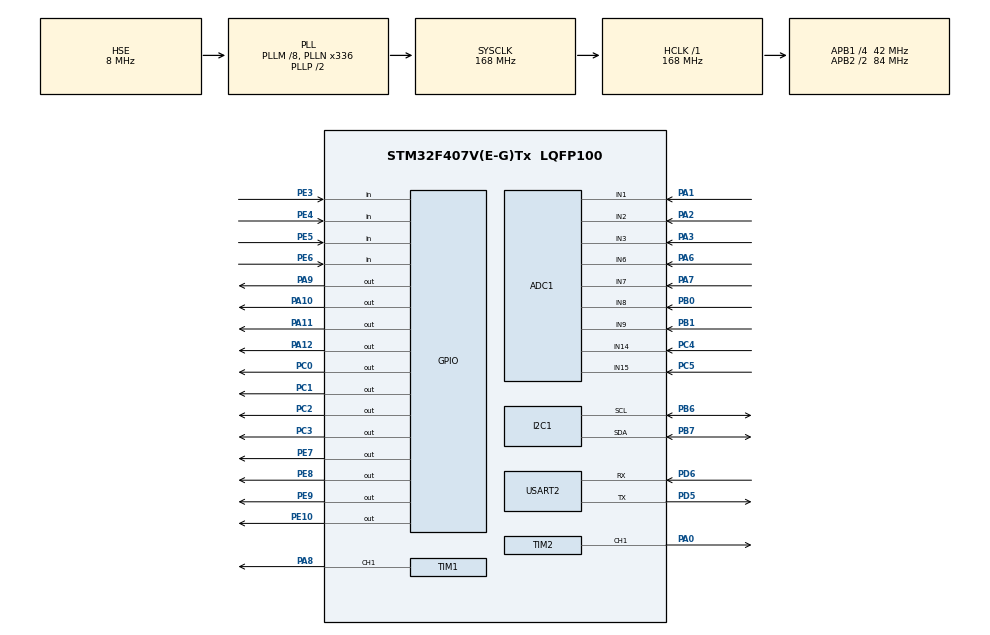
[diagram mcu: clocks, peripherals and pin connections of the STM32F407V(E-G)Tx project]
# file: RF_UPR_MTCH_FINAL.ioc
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ADC1.Channel-10\#ChannelRegularConversion=ADC_CHANNEL_2
ADC1.Channel-7\#ChannelRegularConversion=ADC_CHANNEL_1
ADC1.Channel-8\#ChannelInjectedConversion=ADC_CHANNEL_2
ADC1.Channel-9\#ChannelInjectedConversion=ADC_CHANNEL_2
ADC1.ContinuousConvMode=ENABLE
ADC1.DMAContinuousRequests=ENABLE
ADC1.EOCSelection=ADC_EOC_SEQ_CONV
ADC1.EnableAnalogWatchDog=false
ADC1.InjNumberOfConversion=2
ADC1.InjectedOffset-8\#ChannelInjectedConversion=0
ADC1.InjectedOffset-9\#ChannelInjectedConversion=0
ADC1.InjectedRank-8\#ChannelInjectedConversion=1
ADC1.InjectedRank-9\#ChannelInjectedConversion=2
ADC1.NbrOfConversion=2
ADC1.NbrOfConversionFlag=1
ADC1.Rank-10\#ChannelRegularConversion=2
ADC1.Rank-7\#ChannelRegularConversion=1
ADC1.SamplingTime-10\#ChannelRegularConversion=ADC_SAMPLETIME_480CYCLES
ADC1.SamplingTime-7\#ChannelRegularConversion=ADC_SAMPLETIME_480CYCLES
ADC1.SamplingTime-8\#ChannelInjectedConversion=ADC_SAMPLETIME_3CYCLES
ADC1.SamplingTime-9\#ChannelInjectedConversion=ADC_SAMPLETIME_3CYCLES
ADC1.master=1
Dma.ADC1.0.Direction=DMA_PERIPH_TO_MEMORY
Dma.ADC1.0.FIFOMode=DMA_FIFOMODE_DISABLE
Dma.ADC1.0.Instance=DMA2_Stream0
Dma.ADC1.0.MemDataAlignment=DMA_MDATAALIGN_HALFWORD
Dma.ADC1.0.MemInc=DMA_MINC_ENABLE
Dma.ADC1.0.Mode=DMA_CIRCULAR
Dma.ADC1.0.PeriphDataAlignment=DMA_PDATAALIGN_HALFWORD
Dma.ADC1.0.PeriphInc=DMA_PINC_DISABLE
Dma.ADC1.0.Priority=DMA_PRIORITY_LOW
Dma.Request0=ADC1
I2C1.I2C_Mode=I2C_Standard
Mcu.Family=STM32F4
Mcu.Name=STM32F407V(E-G)Tx
Mcu.Package=LQFP100
NVIC.ADC_IRQn=true\:0\:0\:false\:false\:true\:true\:true\:true
NVIC.DMA2_Stream0_IRQn=true\:0\:0\:false\:false\:true\:false\:true\:true
NVIC.PriorityGroup=NVIC_PRIORITYGROUP_0
NVIC.TIM1_UP_TIM10_IRQn=true\:0\:0\:false\:false\:true\:true\:true\:true
NVIC.TIM2_IRQn=true\:0\:0\:false\:false\:true\:true\:true\:true
NVIC.TIM6_DAC_IRQn=true\:0\:0\:false\:false\:true\:true\:true\:true
NVIC.USART2_IRQn=true\:0\:0\:false\:false\:true\:true\:true\:true
PA0-WKUP.Signal=S_TIM2_CH1_ETR
PA1.Signal=ADCx_IN1
PA10.Signal=GPIO_Output
PA11.Signal=GPIO_Output
PA12.Signal=GPIO_Output
PA13.Mode=Serial_Wire
PA13.Signal=SYS_JTMS-SWDIO
PA14.Mode=Serial_Wire
PA14.Signal=SYS_JTCK-SWCLK
PA2.Signal=ADCx_IN2
PA3.Signal=ADCx_IN3
PA6.Signal=ADCx_IN6
PA7.Signal=ADCx_IN7
PA8.Signal=S_TIM1_CH1
PA9.Signal=GPIO_Output
PB0.Signal=ADCx_IN8
PB1.Signal=ADCx_IN9
PB6.Mode=I2C
PB6.Signal=I2C1_SCL
PB7.Mode=I2C
PB7.Signal=I2C1_SDA
PC0.Signal=GPIO_Output
PC1.Signal=GPIO_Output
PC2.Signal=GPIO_Output
PC3.Signal=GPIO_Output
PC4.Signal=ADCx_IN14
PC5.Signal=ADCx_IN15
PD5.Mode=Asynchronous
PD5.Signal=USART2_TX
PD6.Mode=Asynchronous
PD6.Signal=USART2_RX
PE10.Signal=GPIO_Output
PE3.Signal=GPIO_Input
PE4.Signal=GPIO_Input
PE5.Signal=GPIO_Input
PE6.Signal=GPIO_Input
PE7.Signal=GPIO_Output
PE8.Signal=GPIO_Output
PE9.Signal=GPIO_Output
PH0-OSC_IN.Mode=HSE-External-Oscillator
PH0-OSC_IN.Signal=RCC_OSC_IN
PH1-OSC_OUT.Mode=HSE-External-Oscillator
PH1-OSC_OUT.Signal=RCC_OSC_OUT
ProjectManager.HeapSize=0x200
ProjectManager.StackSize=0x400
ProjectManager.TargetToolchain=STM32CubeIDE
RCC.48MHZClocksFreq_Value=48000000
RCC.AHBFreq_Value=168000000
RCC.APB1CLKDivider=RCC_HCLK_DIV4
RCC.APB1Freq_Value=42000000
RCC.APB1TimFreq_Value=84000000
RCC.APB2CLKDivider=RCC_HCLK_DIV2
RCC.APB2Freq_Value=84000000
RCC.APB2TimFreq_Value=168000000
RCC.CortexFreq_Value=168000000
RCC.HCLKFreq_Value=168000000
RCC.HSE_VALUE=8000000
RCC.HSI_VALUE=16000000
RCC.LSE_VALUE=32768
RCC.PLLM=8
RCC.PLLN=336
RCC.PLLQ=7
RCC.PLLSourceVirtual=RCC_PLLSOURCE_HSE
RCC.SYSCLKFreq_VALUE=168000000
RCC.SYSCLKSource=RCC_SYSCLKSOURCE_PLLCLK
RCC.VCOOutputFreq_Value=336000000
SH.ADCx_IN1.0=ADC1_IN1,IN1
SH.ADCx_IN14.0=ADC1_IN14,IN14
SH.ADCx_IN15.0=ADC1_IN15,IN15
SH.ADCx_IN2.0=ADC1_IN2,IN2
SH.ADCx_IN3.0=ADC1_IN3,IN3
SH.ADCx_IN6.0=ADC1_IN6,IN6
SH.ADCx_IN7.0=ADC1_IN7,IN7
SH.ADCx_IN8.0=ADC1_IN8,IN8
SH.ADCx_IN9.0=ADC1_IN9,IN9
SH.S_TIM1_CH1.0=TIM1_CH1,PWM Generation1 CH1
SH.S_TIM2_CH1_ETR.0=TIM2_CH1,PWM Generation1 CH1
TIM1.Channel-PWM\ Generation1\ CH1=TIM_CHANNEL_1
TIM1.Period=4199
TIM1.Prescaler=1
TIM2.Channel-PWM\ Generation1\ CH1=TIM_CHANNEL_1
TIM2.Period=4199
TIM2.Prescaler=0
TIM6.Period=999
TIM6.Prescaler=83
USART2.VirtualMode=VM_ASYNC
VP_TIM1_VS_ClockSourceINT.Mode=Internal
VP_TIM2_VS_ClockSourceINT.Mode=Internal
VP_TIM6_VS_ClockSourceINT.Mode=Enable_Timer
board=STM32F407G-DISC1

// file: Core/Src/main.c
/* USER CODE BEGIN Header */
/**
 ******************************************************************************
 * @file           : main.c
 * @brief          : Main program body
 ******************************************************************************
 * @attention
 *
 * Copyright (c) 2025 STMicroelectronics.
 * All rights reserved.
 *
 * This software is licensed under terms that can be found in the LICENSE file
 * in the root directory of this software component.
 * If no LICENSE file comes with this software, it is provided AS-IS.
 *
 ******************************************************************************
 */
/* USER CODE END Header */
#include "main.h"

/* USER CODE BEGIN Includes */
#include "test.h"

#include <stdio.h>
#include <string.h>
#include "uart_handler.h"
#include <math.h>
#include "i2ccomm.h"
#include "motor_control.h"
#include "test.h"
#include "relay_driver.h"
/* USER CODE END Includes */

ADC_HandleTypeDef hadc1;
DMA_HandleTypeDef hdma_adc1;

I2C_HandleTypeDef hi2c1;

TIM_HandleTypeDef htim1;
TIM_HandleTypeDef htim2;
TIM_HandleTypeDef htim6;

UART_HandleTypeDef huart2;

/* USER CODE BEGIN PV */
// Application state variable
volatile uint8_t g_test_is_running = 1;
/* USER CODE END PV */

void SystemClock_Config(void);
static void MX_GPIO_Init(void);
static void MX_DMA_Init(void);
static void MX_ADC1_Init(void);
static void MX_TIM2_Init(void);
static void MX_USART2_UART_Init(void);
static void MX_I2C1_Init(void);
static void MX_TIM1_Init(void);
static void MX_TIM6_Init(void);

int main(void)
{

  /* MCU Configuration--------------------------------------------------------*/

  /* Reset of all peripherals, Initializes the Flash interface and the Systick. */
  HAL_Init();

  /* Configure the system clock */
  SystemClock_Config();

  /* Initialize all configured peripherals */
  MX_GPIO_Init();
  MX_DMA_Init();
  MX_ADC1_Init();
  MX_TIM2_Init();
  MX_USART2_UART_Init();
  MX_I2C1_Init();
  MX_TIM1_Init();
  MX_TIM6_Init();
  /* USER CODE BEGIN 2 */
  int cmd_int = 0 ;
  uart_handler_init(&huart2);
  MotorControl_Init();
  HAL_TIM_Base_Start_IT(&htim6);
  Test_Init();
  /* USER CODE END 2 */

  /* Infinite loop */
	while (1) {

    /* USER CODE BEGIN 3 */
//		static uint32_t last_isr_print = 0;
//		if (HAL_GetTick() - last_isr_print >= 1000) {
//		    last_isr_print = HAL_GetTick();
//		    printf("ISR/sec = %lu\r\n", pid_isr_count);
//		}
//		Motor_Set(MOTOR_2, -3300);
//		for (int i = 100; i < 4200; i += 100)
//		{
//		    Motor_Set(MOTOR_1, i);
//		    HAL_Delay(50);
//		}
//

		/* ================================================================
		 * SECTION 1: UART COMMAND HANDLING (PRODUCER–CONSUMER)
		 * ================================================================ */

        if (uart_command_is_ready()) {

			const char *command = (const char*) uart_get_command_buffer();

			printf("DBG_MAIN: Command received: [%s]\r\n", command);
			fflush(stdout);

			if (strcmp(command, "CMD:PERFORM_TEST") == 0) {
				g_test_is_running = 0;
			}
			else if (strcmp(command, "CMD:STOP_TEST") == 0) {
				g_test_is_running = 1;
			} else if (strcmp(command, "CMD:CONFIG1") == 0) {
				g_test_is_running = 2;
			} else if (strcmp(command, "CMD:CONFIG2") == 0) {
				g_test_is_running = 3;
			} else if (strcmp(command, "CMD:CONFIG3") == 0) {
				g_test_is_running = 4;
			} else if (strcmp(command, "CMD:CONFIG4") == 0) {
				g_test_is_running = 5;
			}
			else if (sscanf(command, "CMD:SET_M1 %d", &cmd_int) == 1)
			{
				g_test_is_running = 6;
			}
			else if (sscanf(command, "CMD:SET_M2 %d", &cmd_int) == 1)
			{
				g_test_is_running = 7;
			}
			else
			{
				printf("DBG_MAIN: Unknown command\r\n");
				fflush(stdout);
			}

			uart_reset_for_next_command();
		}

		/* ================================================================
		 * SECTION 2: STATE-BASED ACTION DISPATCH
		 * ================================================================ */
		switch (g_test_is_running) {
		case 0:
			/* Full automated test */
			Test_Run();
			break;
		case 1:
			Stop_test();
			break;

		case 2:
			/* Corner 1: MIN / MIN */
			Test_GotoCorner(1);
			break;

		case 3:
			/* Corner 2: MIN / MAX */
			Test_GotoCorner(2);
			break;

		case 4:
			/* Corner 3: MAX / MIN */
			Test_GotoCorner(3);
			break;

		case 5:
			/* Corner 4: MAX / MAX */
			Test_GotoCorner(4);
			break;

		case 6:   // CMD:SET_M1 <0..100>
		{
		    if (cmd_int < 10)   cmd_int = 10;
		    if (cmd_int > 90) cmd_int = 90;
		    MotorCalibration_t *cal = MotorControl_GetCalibration(MOTOR_1);

		    uint16_t targetADC =
		        cal->adc_min +
		        (cmd_int * (cal->adc_max - cal->adc_min)) / 100;

		    MotorControl_MoveToADC(MOTOR_1, targetADC, 10);
		    g_test_is_running = 1;   // return to idle
		    break;
		}

		case 7:   // CMD:SET_M2 <0..100>
		{
		    if (cmd_int < 10)   cmd_int = 10;
		    if (cmd_int > 90) cmd_int = 90;
		    MotorCalibration_t *cal = MotorControl_GetCalibration(MOTOR_2);
		    uint16_t targetADC =
		        cal->adc_min +
		        (cmd_int * (cal->adc_max - cal->adc_min)) / 100;

		    MotorControl_MoveToADC(MOTOR_2, targetADC, 10);
		    g_test_is_running = 1;
		    break;
		}

		default:
			/* Idle */
			break;
		}
	}
  /* USER CODE END 3 */
}

void SystemClock_Config(void)
{
  RCC_OscInitTypeDef RCC_OscInitStruct = {0};
  RCC_ClkInitTypeDef RCC_ClkInitStruct = {0};

  /** Configure the main internal regulator output voltage
  */
  __HAL_RCC_PWR_CLK_ENABLE();
  __HAL_PWR_VOLTAGESCALING_CONFIG(PWR_REGULATOR_VOLTAGE_SCALE1);

  /** Initializes the RCC Oscillators according to the specified parameters
  * in the RCC_OscInitTypeDef structure.
  */
  RCC_OscInitStruct.OscillatorType = RCC_OSCILLATORTYPE_HSE;
  RCC_OscInitStruct.HSEState = RCC_HSE_ON;
  RCC_OscInitStruct.PLL.PLLState = RCC_PLL_ON;
  RCC_OscInitStruct.PLL.PLLSource = RCC_PLLSOURCE_HSE;
  RCC_OscInitStruct.PLL.PLLM = 8;
  RCC_OscInitStruct.PLL.PLLN = 336;
  RCC_OscInitStruct.PLL.PLLP = RCC_PLLP_DIV2;
  RCC_OscInitStruct.PLL.PLLQ = 7;
  if (HAL_RCC_OscConfig(&RCC_OscInitStruct) != HAL_OK)
  {
    Error_Handler();
  }

  /** Initializes the CPU, AHB and APB buses clocks
  */
  RCC_ClkInitStruct.ClockType = RCC_CLOCKTYPE_HCLK|RCC_CLOCKTYPE_SYSCLK
                              |RCC_CLOCKTYPE_PCLK1|RCC_CLOCKTYPE_PCLK2;
  RCC_ClkInitStruct.SYSCLKSource = RCC_SYSCLKSOURCE_PLLCLK;
  RCC_ClkInitStruct.AHBCLKDivider = RCC_SYSCLK_DIV1;
  RCC_ClkInitStruct.APB1CLKDivider = RCC_HCLK_DIV4;
  RCC_ClkInitStruct.APB2CLKDivider = RCC_HCLK_DIV2;

  if (HAL_RCC_ClockConfig(&RCC_ClkInitStruct, FLASH_LATENCY_5) != HAL_OK)
  {
    Error_Handler();
  }
}

static void MX_ADC1_Init(void)
{

  ADC_ChannelConfTypeDef sConfig = {0};
  ADC_InjectionConfTypeDef sConfigInjected = {0};

  /** Configure the global features of the ADC (Clock, Resolution, Data Alignment and number of conversion)
  */
  hadc1.Instance = ADC1;
  hadc1.Init.ClockPrescaler = ADC_CLOCK_SYNC_PCLK_DIV4;
  hadc1.Init.Resolution = ADC_RESOLUTION_12B;
  hadc1.Init.ScanConvMode = ENABLE;
  hadc1.Init.ContinuousConvMode = ENABLE;
  hadc1.Init.DiscontinuousConvMode = DISABLE;
  hadc1.Init.ExternalTrigConvEdge = ADC_EXTERNALTRIGCONVEDGE_NONE;
  hadc1.Init.ExternalTrigConv = ADC_SOFTWARE_START;
  hadc1.Init.DataAlign = ADC_DATAALIGN_RIGHT;
  hadc1.Init.NbrOfConversion = 2;
  hadc1.Init.DMAContinuousRequests = ENABLE;
  hadc1.Init.EOCSelection = ADC_EOC_SEQ_CONV;
  if (HAL_ADC_Init(&hadc1) != HAL_OK)
  {
    Error_Handler();
  }

  /** Configure for the selected ADC regular channel its corresponding rank in the sequencer and its sample time.
  */
  sConfig.Channel = ADC_CHANNEL_1;
  sConfig.Rank = 1;
  sConfig.SamplingTime = ADC_SAMPLETIME_480CYCLES;
  if (HAL_ADC_ConfigChannel(&hadc1, &sConfig) != HAL_OK)
  {
    Error_Handler();
  }

  /** Configure for the selected ADC regular channel its corresponding rank in the sequencer and its sample time.
  */
  sConfig.Channel = ADC_CHANNEL_2;
  sConfig.Rank = 2;
  if (HAL_ADC_ConfigChannel(&hadc1, &sConfig) != HAL_OK)
  {
    Error_Handler();
  }

  /** Configures for the selected ADC injected channel its corresponding rank in the sequencer and its sample time
  */
  sConfigInjected.InjectedChannel = ADC_CHANNEL_2;
  sConfigInjected.InjectedRank = 1;
  sConfigInjected.InjectedNbrOfConversion = 2;
  sConfigInjected.InjectedSamplingTime = ADC_SAMPLETIME_3CYCLES;
  sConfigInjected.ExternalTrigInjecConvEdge = ADC_EXTERNALTRIGINJECCONVEDGE_NONE;
  sConfigInjected.ExternalTrigInjecConv = ADC_INJECTED_SOFTWARE_START;
  sConfigInjected.AutoInjectedConv = DISABLE;
  sConfigInjected.InjectedDiscontinuousConvMode = DISABLE;
  sConfigInjected.InjectedOffset = 0;
  if (HAL_ADCEx_InjectedConfigChannel(&hadc1, &sConfigInjected) != HAL_OK)
  {
    Error_Handler();
  }

  /** Configures for the selected ADC injected channel its corresponding rank in the sequencer and its sample time
  */
  sConfigInjected.InjectedRank = 2;
  if (HAL_ADCEx_InjectedConfigChannel(&hadc1, &sConfigInjected) != HAL_OK)
  {
    Error_Handler();
  }

}

static void MX_I2C1_Init(void)
{

  hi2c1.Instance = I2C1;
  hi2c1.Init.ClockSpeed = 100000;
  hi2c1.Init.DutyCycle = I2C_DUTYCYCLE_2;
  hi2c1.Init.OwnAddress1 = 0;
  hi2c1.Init.AddressingMode = I2C_ADDRESSINGMODE_7BIT;
  hi2c1.Init.DualAddressMode = I2C_DUALADDRESS_DISABLE;
  hi2c1.Init.OwnAddress2 = 0;
  hi2c1.Init.GeneralCallMode = I2C_GENERALCALL_DISABLE;
  hi2c1.Init.NoStretchMode = I2C_NOSTRETCH_DISABLE;
  if (HAL_I2C_Init(&hi2c1) != HAL_OK)
  {
    Error_Handler();
  }

}

static void MX_TIM1_Init(void)
{

  TIM_ClockConfigTypeDef sClockSourceConfig = {0};
  TIM_MasterConfigTypeDef sMasterConfig = {0};
  TIM_OC_InitTypeDef sConfigOC = {0};
  TIM_BreakDeadTimeConfigTypeDef sBreakDeadTimeConfig = {0};

  htim1.Instance = TIM1;
  htim1.Init.Prescaler = 1;
  htim1.Init.CounterMode = TIM_COUNTERMODE_UP;
  htim1.Init.Period = 4199;
  htim1.Init.ClockDivision = TIM_CLOCKDIVISION_DIV1;
  htim1.Init.RepetitionCounter = 0;
  htim1.Init.AutoReloadPreload = TIM_AUTORELOAD_PRELOAD_DISABLE;
  if (HAL_TIM_Base_Init(&htim1) != HAL_OK)
  {
    Error_Handler();
  }
  sClockSourceConfig.ClockSource = TIM_CLOCKSOURCE_INTERNAL;
  if (HAL_TIM_ConfigClockSource(&htim1, &sClockSourceConfig) != HAL_OK)
  {
    Error_Handler();
  }
  if (HAL_TIM_PWM_Init(&htim1) != HAL_OK)
  {
    Error_Handler();
  }
  sMasterConfig.MasterOutputTrigger = TIM_TRGO_RESET;
  sMasterConfig.MasterSlaveMode = TIM_MASTERSLAVEMODE_DISABLE;
  if (HAL_TIMEx_MasterConfigSynchronization(&htim1, &sMasterConfig) != HAL_OK)
  {
    Error_Handler();
  }
  sConfigOC.OCMode = TIM_OCMODE_PWM1;
  sConfigOC.Pulse = 0;
  sConfigOC.OCPolarity = TIM_OCPOLARITY_HIGH;
  sConfigOC.OCNPolarity = TIM_OCNPOLARITY_HIGH;
  sConfigOC.OCFastMode = TIM_OCFAST_DISABLE;
  sConfigOC.OCIdleState = TIM_OCIDLESTATE_RESET;
  sConfigOC.OCNIdleState = TIM_OCNIDLESTATE_RESET;
  if (HAL_TIM_PWM_ConfigChannel(&htim1, &sConfigOC, TIM_CHANNEL_1) != HAL_OK)
  {
    Error_Handler();
  }
  sBreakDeadTimeConfig.OffStateRunMode = TIM_OSSR_DISABLE;
  sBreakDeadTimeConfig.OffStateIDLEMode = TIM_OSSI_DISABLE;
  sBreakDeadTimeConfig.LockLevel = TIM_LOCKLEVEL_OFF;
  sBreakDeadTimeConfig.DeadTime = 0;
  sBreakDeadTimeConfig.BreakState = TIM_BREAK_DISABLE;
  sBreakDeadTimeConfig.BreakPolarity = TIM_BREAKPOLARITY_HIGH;
  sBreakDeadTimeConfig.AutomaticOutput = TIM_AUTOMATICOUTPUT_DISABLE;
  if (HAL_TIMEx_ConfigBreakDeadTime(&htim1, &sBreakDeadTimeConfig) != HAL_OK)
  {
    Error_Handler();
  }
  HAL_TIM_MspPostInit(&htim1);

}

static void MX_TIM2_Init(void)
{

  TIM_ClockConfigTypeDef sClockSourceConfig = {0};
  TIM_MasterConfigTypeDef sMasterConfig = {0};
  TIM_OC_InitTypeDef sConfigOC = {0};

  htim2.Instance = TIM2;
  htim2.Init.Prescaler = 0;
  htim2.Init.CounterMode = TIM_COUNTERMODE_UP;
  htim2.Init.Period = 4199;
  htim2.Init.ClockDivision = TIM_CLOCKDIVISION_DIV1;
  htim2.Init.AutoReloadPreload = TIM_AUTORELOAD_PRELOAD_DISABLE;
  if (HAL_TIM_Base_Init(&htim2) != HAL_OK)
  {
    Error_Handler();
  }
  sClockSourceConfig.ClockSource = TIM_CLOCKSOURCE_INTERNAL;
  if (HAL_TIM_ConfigClockSource(&htim2, &sClockSourceConfig) != HAL_OK)
  {
    Error_Handler();
  }
  if (HAL_TIM_PWM_Init(&htim2) != HAL_OK)
  {
    Error_Handler();
  }
  sMasterConfig.MasterOutputTrigger = TIM_TRGO_RESET;
  sMasterConfig.MasterSlaveMode = TIM_MASTERSLAVEMODE_DISABLE;
  if (HAL_TIMEx_MasterConfigSynchronization(&htim2, &sMasterConfig) != HAL_OK)
  {
    Error_Handler();
  }
  sConfigOC.OCMode = TIM_OCMODE_PWM1;
  sConfigOC.Pulse = 0;
  sConfigOC.OCPolarity = TIM_OCPOLARITY_HIGH;
  sConfigOC.OCFastMode = TIM_OCFAST_DISABLE;
  if (HAL_TIM_PWM_ConfigChannel(&htim2, &sConfigOC, TIM_CHANNEL_1) != HAL_OK)
  {
    Error_Handler();
  }
  HAL_TIM_MspPostInit(&htim2);

}

static void MX_TIM6_Init(void)
{

  TIM_MasterConfigTypeDef sMasterConfig = {0};

  htim6.Instance = TIM6;
  htim6.Init.Prescaler = 83;
  htim6.Init.CounterMode = TIM_COUNTERMODE_UP;
  htim6.Init.Period = 999;
  htim6.Init.AutoReloadPreload = TIM_AUTORELOAD_PRELOAD_DISABLE;
  if (HAL_TIM_Base_Init(&htim6) != HAL_OK)
  {
    Error_Handler();
  }
  sMasterConfig.MasterOutputTrigger = TIM_TRGO_RESET;
  sMasterConfig.MasterSlaveMode = TIM_MASTERSLAVEMODE_DISABLE;
  if (HAL_TIMEx_MasterConfigSynchronization(&htim6, &sMasterConfig) != HAL_OK)
  {
    Error_Handler();
  }

}

static void MX_USART2_UART_Init(void)
{

  huart2.Instance = USART2;
  huart2.Init.BaudRate = 115200;
  huart2.Init.WordLength = UART_WORDLENGTH_8B;
  huart2.Init.StopBits = UART_STOPBITS_1;
  huart2.Init.Parity = UART_PARITY_NONE;
  huart2.Init.Mode = UART_MODE_TX_RX;
  huart2.Init.HwFlowCtl = UART_HWCONTROL_NONE;
  huart2.Init.OverSampling = UART_OVERSAMPLING_16;
  if (HAL_UART_Init(&huart2) != HAL_OK)
  {
    Error_Handler();
  }

}

static void MX_DMA_Init(void)
{

  /* DMA controller clock enable */
  __HAL_RCC_DMA2_CLK_ENABLE();

  /* DMA interrupt init */
  /* DMA2_Stream0_IRQn interrupt configuration */
  HAL_NVIC_SetPriority(DMA2_Stream0_IRQn, 0, 0);
  HAL_NVIC_EnableIRQ(DMA2_Stream0_IRQn);

}

static void MX_GPIO_Init(void)
{
  GPIO_InitTypeDef GPIO_InitStruct = {0};

  /* GPIO Ports Clock Enable */
  __HAL_RCC_GPIOE_CLK_ENABLE();
  __HAL_RCC_GPIOH_CLK_ENABLE();
  __HAL_RCC_GPIOC_CLK_ENABLE();
  __HAL_RCC_GPIOA_CLK_ENABLE();
  __HAL_RCC_GPIOB_CLK_ENABLE();
  __HAL_RCC_GPIOD_CLK_ENABLE();

  /*Configure GPIO pin Output Level */
  HAL_GPIO_WritePin(GPIOC, GPIO_PIN_0|GPIO_PIN_1|GPIO_PIN_2|GPIO_PIN_3, GPIO_PIN_RESET);

  /*Configure GPIO pin Output Level */
  HAL_GPIO_WritePin(GPIOE, GPIO_PIN_7|GPIO_PIN_8|GPIO_PIN_9|GPIO_PIN_10, GPIO_PIN_RESET);

  /*Configure GPIO pin Output Level */
  HAL_GPIO_WritePin(GPIOA, GPIO_PIN_9|GPIO_PIN_10|GPIO_PIN_11|GPIO_PIN_12, GPIO_PIN_RESET);

  /*Configure GPIO pins : PE3 PE4 PE5 PE6 */
  GPIO_InitStruct.Pin = GPIO_PIN_3|GPIO_PIN_4|GPIO_PIN_5|GPIO_PIN_6;
  GPIO_InitStruct.Mode = GPIO_MODE_INPUT;
  GPIO_InitStruct.Pull = GPIO_NOPULL;
  HAL_GPIO_Init(GPIOE, &GPIO_InitStruct);

  /*Configure GPIO pins : PC0 PC1 PC2 PC3 */
  GPIO_InitStruct.Pin = GPIO_PIN_0|GPIO_PIN_1|GPIO_PIN_2|GPIO_PIN_3;
  GPIO_InitStruct.Mode = GPIO_MODE_OUTPUT_PP;
  GPIO_InitStruct.Pull = GPIO_NOPULL;
  GPIO_InitStruct.Speed = GPIO_SPEED_FREQ_LOW;
  HAL_GPIO_Init(GPIOC, &GPIO_InitStruct);

  /*Configure GPIO pins : PE7 PE8 PE9 PE10 */
  GPIO_InitStruct.Pin = GPIO_PIN_7|GPIO_PIN_8|GPIO_PIN_9|GPIO_PIN_10;
  GPIO_InitStruct.Mode = GPIO_MODE_OUTPUT_PP;
  GPIO_InitStruct.Pull = GPIO_NOPULL;
  GPIO_InitStruct.Speed = GPIO_SPEED_FREQ_LOW;
  HAL_GPIO_Init(GPIOE, &GPIO_InitStruct);

  /*Configure GPIO pins : PA9 PA10 PA11 PA12 */
  GPIO_InitStruct.Pin = GPIO_PIN_9|GPIO_PIN_10|GPIO_PIN_11|GPIO_PIN_12;
  GPIO_InitStruct.Mode = GPIO_MODE_OUTPUT_PP;
  GPIO_InitStruct.Pull = GPIO_NOPULL;
  GPIO_InitStruct.Speed = GPIO_SPEED_FREQ_LOW;
  HAL_GPIO_Init(GPIOA, &GPIO_InitStruct);

}

void Error_Handler(void)
{
	__disable_irq();
	while (1) {
	}
}
